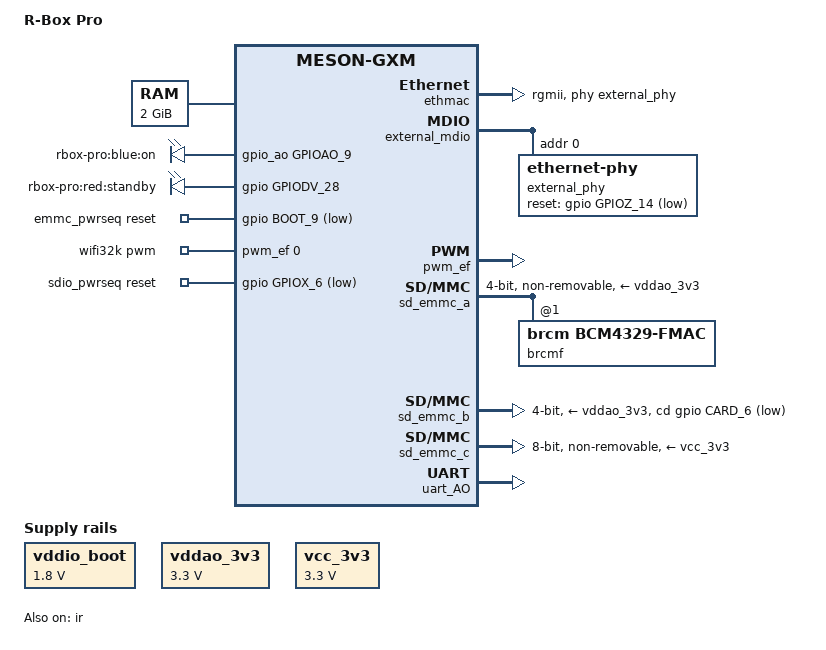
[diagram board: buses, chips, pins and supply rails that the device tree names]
// SPDX-License-Identifier: (GPL-2.0+ OR MIT)
/*
 * Copyright (c) 2016-2017 Andreas Färber
 *
 * Based on nexbox-a1:
 *
 * Copyright (c) 2016 BayLibre, SAS.
 * Author: Neil Armstrong <narmstrong@baylibre.com>
 *
 * Copyright (c) 2016 Endless Computers, Inc.
 * Author: Carlo Caione <carlo@endlessm.com>
 */

/dts-v1/;

#include "meson-gxm.dtsi"

/ {
	compatible = "kingnovel,r-box-pro", "amlogic,s912", "amlogic,meson-gxm";
	model = "R-Box Pro";

	aliases {
		serial0 = &uart_AO;
		ethernet0 = &ethmac;
	};

	chosen {
		stdout-path = "serial0:115200n8";
	};

	memory@0 {
		device_type = "memory";
		reg = <0x0 0x0 0x0 0x80000000>; /* 2 GiB or 3 GiB */
	};

	leds {
		compatible = "gpio-leds";

		led-blue {
			label = "rbox-pro:blue:on";
			gpios = <&gpio_ao GPIOAO_9 GPIO_ACTIVE_HIGH>;
			default-state = "on";
		};

		led-red {
			label = "rbox-pro:red:standby";
			gpios = <&gpio GPIODV_28 GPIO_ACTIVE_HIGH>;
			default-state = "off";
			retain-state-suspended;
			panic-indicator;
		};
	};

	vddio_boot: regulator-vddio-boot {
		compatible = "regulator-fixed";
		regulator-name = "VDDIO_BOOT";
		regulator-min-microvolt = <1800000>;
		regulator-max-microvolt = <1800000>;
	};

	vddao_3v3: regulator-vddao-3v3 {
		compatible = "regulator-fixed";
		regulator-name = "VDDAO_3V3";
		regulator-min-microvolt = <3300000>;
		regulator-max-microvolt = <3300000>;
	};

	vcc_3v3: regulator-vcc-3v3 {
		compatible = "regulator-fixed";
		regulator-name = "VCC_3V3";
		regulator-min-microvolt = <3300000>;
		regulator-max-microvolt = <3300000>;
	};

	emmc_pwrseq: emmc-pwrseq {
		compatible = "mmc-pwrseq-emmc";
		reset-gpios = <&gpio BOOT_9 GPIO_ACTIVE_LOW>;
	};

	wifi32k: wifi32k {
		compatible = "pwm-clock";
		#clock-cells = <0>;
		clock-frequency = <32768>;
		pwms = <&pwm_ef 0 30518 0>; /* PWM_E at 32.768KHz */
	};

	sdio_pwrseq: sdio-pwrseq {
		compatible = "mmc-pwrseq-simple";
		reset-gpios = <&gpio GPIOX_6 GPIO_ACTIVE_LOW>;
		clocks = <&wifi32k>;
		clock-names = "ext_clock";
	};
};

&ethmac {
	status = "okay";

	pinctrl-0 = <&eth_pins>;
	pinctrl-names = "default";

	/* Select external PHY by default */
	phy-handle = <&external_phy>;

	amlogic,tx-delay-ns = <2>;

	/* External PHY is in RGMII */
	phy-mode = "rgmii";
};

&external_mdio {
	external_phy: ethernet-phy@0 {
		/* Realtek RTL8211F (0x001cc916) */
		reg = <0>;
		max-speed = <1000>;

		reset-assert-us = <10000>;
		reset-deassert-us = <30000>;
		reset-gpios = <&gpio GPIOZ_14 GPIO_ACTIVE_LOW>;
	};
};

&ir {
	status = "okay";
	pinctrl-0 = <&remote_input_ao_pins>;
	pinctrl-names = "default";
};

&pwm_ef {
	status = "okay";
	pinctrl-0 = <&pwm_e_pins>;
	pinctrl-names = "default";
	clocks = <&clkc CLKID_FCLK_DIV4>;
	clock-names = "clkin0";
};

/* Wireless SDIO Module */
&sd_emmc_a {
	status = "okay";
	pinctrl-0 = <&sdio_pins>;
	pinctrl-names = "default";
	#address-cells = <1>;
	#size-cells = <0>;

	bus-width = <4>;
	cap-sd-highspeed;
	max-frequency = <50000000>;

	non-removable;
	disable-wp;

	/* WiFi firmware requires power to be kept while in suspend */
	keep-power-in-suspend;

	mmc-pwrseq = <&sdio_pwrseq>;

	vmmc-supply = <&vddao_3v3>;
	vqmmc-supply = <&vddio_boot>;

	brcmf: brcmf@1 {
		reg = <1>;
		compatible = "brcm,bcm4329-fmac";
	};
};

/* SD card */
&sd_emmc_b {
	status = "okay";
	pinctrl-0 = <&sdcard_pins>;
	pinctrl-names = "default";

	bus-width = <4>;
	cap-sd-highspeed;
	max-frequency = <50000000>;
	disable-wp;

	cd-gpios = <&gpio CARD_6 GPIO_ACTIVE_LOW>;

	vmmc-supply = <&vddao_3v3>;
	vqmmc-supply = <&vddio_boot>;
};

/* eMMC */
&sd_emmc_c {
	status = "okay";
	pinctrl-0 = <&emmc_pins>, <&emmc_ds_pins>;
	pinctrl-names = "default";

	bus-width = <8>;
	cap-mmc-highspeed;
	max-frequency = <200000000>;
	non-removable;
	disable-wp;
	mmc-ddr-1_8v;
	mmc-hs200-1_8v;

	mmc-pwrseq = <&emmc_pwrseq>;
	vmmc-supply = <&vcc_3v3>;
	vqmmc-supply = <&vddio_boot>;
};

&uart_AO {
	status = "okay";
	pinctrl-0 = <&uart_ao_a_pins>;
	pinctrl-names = "default";
};
